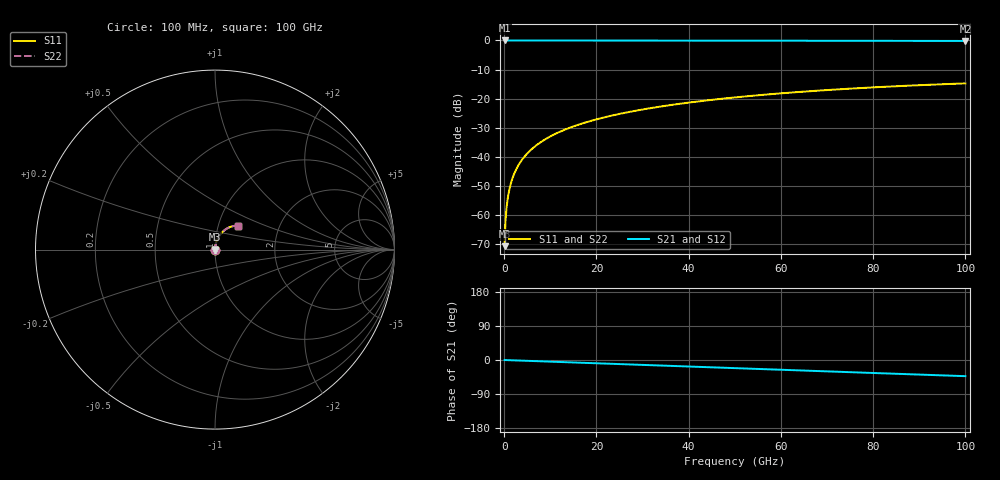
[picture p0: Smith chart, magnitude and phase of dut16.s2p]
! Touchstone file exported from HFSS 2026.1.0
!  File:  C:/ffzhzh/LocalFiles/Ansys_Project_Files/temp_train_TSV_16_1783504331_31944.aedt
!  Generated:  05:53:36 PM Jul  8, 2026
!  Design:  TSV
!  Project:  temp_train_TSV_16_1783504331_31944
! Variables:
!  h_bsmrdl = 2um
!  h_ox = 20um
!  h_rdl = 5um
!  h_sub = 78.92um
!  h_tmrdl = 5um
!  h_tsv = 78.92um
!  h_via = 3um
!  l_bsmrdl = 300um
!  l_sub = 419.06um
!  l_tmrdl = 200um
!  m_sub = 200um
!  pitch = 55.61um
!  r_tsv = 9.53um
!  s_tmrdl = 10um
!  w_bsmrdl = 18um
!  w_sub = 500um
!  w_tmrdl = 12um
!  x_tsv_center1 = 206um
!  x_tsv_center2 = 524um
!  x_tsv_center3 = 736um
!  x_tsv_center4 = 1054um
!  x_tsv_center5 = 1266um
!  x_tsv_center6 = 1584um
# GHz S MA R 50.000000
! Terminal data exported
! Port[1] = TSV1_1_T1
! Port[2] = TSV1_1_T2
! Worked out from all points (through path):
!   1000 points, 100 MHz to 100 GHz, reference 50 ohm
!   highest |S21| = 0.00 dB at 100 MHz (marker M1); lowest = -0.2 dB at 100 GHz (marker M2)
!   group delay of S21, straight-line fit = 1.18 ps
!   lowest |S11| = -70.7 dB at 100 MHz (marker M3), VSWR 1.00, Z = 50 + j0.0262 ohm
!   |S11| at or under -10 dB: start of sweep to end of sweep
!   |S22| runs from -70.7 to -14.8 dB; largest |S21 - S12| = 4e-15
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0.1  0.0002931 63.1  0.9999 -0.0  0.9999 -0.0  0.0002931 63.1
! Gamma 0 0 0 0
! Port Impedance 50 0 50 0
0.3  0.00079 78.2  0.9998 -0.1  0.9998 -0.1  0.00079 78.2
0.7  0.001755 82.0  0.9998 -0.3  0.9998 -0.3  0.001755 82.0
0.8  0.001989 82.3  0.9997 -0.4  0.9997 -0.4  0.001989 82.3
1  0.002452 82.9  0.9997 -0.4  0.9997 -0.4  0.002452 82.9
1.3  0.003141 83.6  0.9997 -0.6  0.9997 -0.6  0.003141 83.6
1.7  0.004054 84.1  0.9996 -0.8  0.9996 -0.8  0.004054 84.1
2.3  0.005414 84.5  0.9996 -1.0  0.9996 -1.0  0.005414 84.5
3  0.006989 84.7  0.9995 -1.3  0.9995 -1.3  0.006989 84.7
3.8  0.008776 84.7  0.9994 -1.7  0.9994 -1.7  0.008776 84.7
4.8  0.011 84.7  0.9993 -2.1  0.9993 -2.1  0.011 84.7
6  0.01365 84.5  0.9992 -2.6  0.9992 -2.6  0.01365 84.5
8.8  0.01982 83.8  0.999 -3.8  0.999 -3.8  0.01982 83.8
12.4  0.0277 82.5  0.9986 -5.4  0.9986 -5.4  0.0277 82.5
16.8  0.03723 80.9  0.9981 -7.3  0.9981 -7.3  0.03723 80.9
24.2  0.05305 78.0  0.9972 -10.5  0.9972 -10.5  0.05305 78.0
33.4  0.07225 74.3  0.9957 -14.4  0.9957 -14.4  0.07225 74.3
41.2  0.08802 71.1  0.9943 -17.8  0.9943 -17.8  0.08802 71.1
50.1  0.1053 67.4  0.9924 -21.6  0.9924 -21.6  0.1053 67.4
66.7  0.1352 60.5  0.9885 -28.6  0.9885 -28.6  0.1352 60.5
83.4  0.1614 53.5  0.9843 -35.7  0.9843 -35.7  0.1614 53.5
100  0.1829 46.7  0.9802 -42.7  0.9802 -42.7  0.1829 46.6
